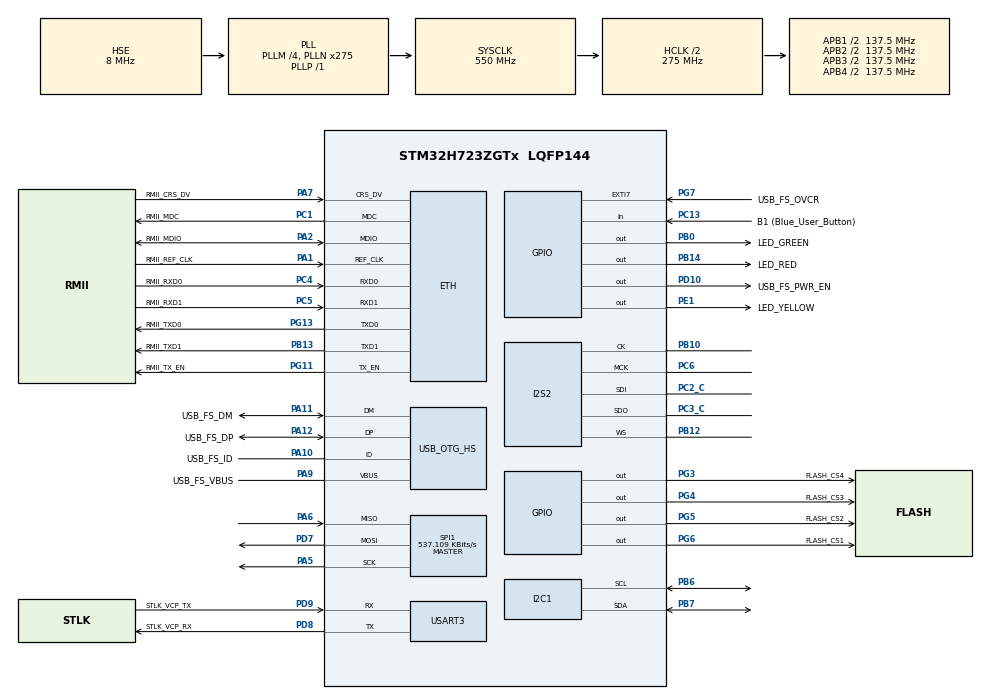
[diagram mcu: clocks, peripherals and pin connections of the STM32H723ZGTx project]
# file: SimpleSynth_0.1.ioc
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ETH.MediaInterface=HAL_ETH_RMII_MODE
FREERTOS.Tasks01=defaultTask,24,128,StartDefaultTask,Default,NULL,Dynamic,NULL,NULL
FREERTOS.configENABLE_FPU=1
FREERTOS.configTOTAL_HEAP_SIZE=262144
FREERTOS.configUSE_NEWLIB_REENTRANT=1
I2C1.Timing=0x60404E72
I2S2.AudioFreq=I2S_AUDIOFREQ_44K
I2S2.ErrorAudioFreq=1.72 %
I2S2.Instance=SPI$Index
I2S2.RealAudioFreq=44.759 KHz
Mcu.Family=STM32H7
Mcu.Name=STM32H723ZGTx
Mcu.Package=LQFP144
NVIC.PriorityGroup=NVIC_PRIORITYGROUP_4
NVIC.TIM1_UP_IRQn=true\:15\:0\:false\:false\:true\:false\:false\:true\:true
NVIC.TimeBase=TIM1_UP_IRQn
NVIC.TimeBaseIP=TIM1
PA1.GPIO_Label=RMII_REF_CLK
PA1.Mode=RMII
PA1.Signal=ETH_REF_CLK
PA10.GPIO_Label=USB_FS_ID
PA10.Mode=OTG/Dual-Role-Device-FS
PA10.Signal=USB_OTG_HS_ID
PA11.GPIO_Label=USB_FS_DM
PA11.Mode=OTG/Dual-Role-Device-FS
PA11.Signal=USB_OTG_HS_DM
PA12.GPIO_Label=USB_FS_DP
PA12.Mode=OTG/Dual-Role-Device-FS
PA12.Signal=USB_OTG_HS_DP
PA13(JTMS/SWDIO).GPIO_Label=SWDIO
PA13(JTMS/SWDIO).Mode=Trace_Asynchronous_SW
PA13(JTMS/SWDIO).Signal=DEBUG_JTMS-SWDIO
PA14(JTCK/SWCLK).GPIO_Label=SWCLK
PA14(JTCK/SWCLK).Mode=Trace_Asynchronous_SW
PA14(JTCK/SWCLK).Signal=DEBUG_JTCK-SWCLK
PA2.GPIO_Label=RMII_MDIO
PA2.Mode=RMII
PA2.Signal=ETH_MDIO
PA5.Mode=Full_Duplex_Master
PA5.Signal=SPI1_SCK
PA6.Mode=Full_Duplex_Master
PA6.Signal=SPI1_MISO
PA7.GPIO_Label=RMII_CRS_DV
PA7.Mode=RMII
PA7.Signal=ETH_CRS_DV
PA9.GPIO_Label=USB_FS_VBUS
PA9.Mode=Activate_VBUS_FS
PA9.Signal=USB_OTG_HS_VBUS
PB0.GPIO_Label=LED_GREEN
PB0.Signal=GPIO_Output
PB10.Mode=Full_Duplex_Master
PB10.Signal=I2S2_CK
PB12.Mode=Full_Duplex_Master
PB12.Signal=I2S2_WS
PB13.GPIO_Label=RMII_TXD1
PB13.Mode=RMII
PB13.Signal=ETH_TXD1
PB14.GPIO_Label=LED_RED
PB14.Signal=GPIO_Output
PB3(JTDO/TRACESWO).GPIO_Label=SWO
PB3(JTDO/TRACESWO).Mode=Trace_Asynchronous_SW
PB3(JTDO/TRACESWO).Signal=DEBUG_JTDO-SWO
PB6.Mode=I2C
PB6.Signal=I2C1_SCL
PB7.Mode=I2C
PB7.Signal=I2C1_SDA
PC1.GPIO_Label=RMII_MDC
PC1.Mode=RMII
PC1.Signal=ETH_MDC
PC13.GPIO_Label=B1 (Blue_User_Button)
PC13.Signal=GPIO_Input
PC14-OSC32_IN.Mode=LSE-External-Oscillator
PC14-OSC32_IN.Signal=RCC_OSC32_IN
PC15-OSC32_OUT.Mode=LSE-External-Oscillator
PC15-OSC32_OUT.Signal=RCC_OSC32_OUT
PC2_C.Mode=Full_Duplex_Master
PC2_C.Signal=I2S2_SDI
PC3_C.Mode=Full_Duplex_Master
PC3_C.Signal=I2S2_SDO
PC4.GPIO_Label=RMII_RXD0
PC4.Mode=RMII
PC4.Signal=ETH_RXD0
PC5.GPIO_Label=RMII_RXD1
PC5.Mode=RMII
PC5.Signal=ETH_RXD1
PC6.Mode=Master_Clock_Activated
PC6.Signal=I2S2_MCK
PD10.GPIO_Label=USB_FS_PWR_EN
PD10.Signal=GPIO_Output
PD7.Mode=Full_Duplex_Master
PD7.Signal=SPI1_MOSI
PD8.GPIO_Label=STLK_VCP_RX
PD8.Mode=Asynchronous
PD8.Signal=USART3_TX
PD9.GPIO_Label=STLK_VCP_TX
PD9.Mode=Asynchronous
PD9.Signal=USART3_RX
PE1.GPIO_Label=LED_YELLOW
PE1.Signal=GPIO_Output
PG11.GPIO_Label=RMII_TX_EN
PG11.Mode=RMII
PG11.Signal=ETH_TX_EN
PG13.GPIO_Label=RMII_TXD0
PG13.Mode=RMII
PG13.Signal=ETH_TXD0
PG3.GPIO_Label=FLASH_CS4
PG3.GPIO_PuPd=GPIO_PULLUP
PG3.GPIO_Speed=GPIO_SPEED_FREQ_HIGH
PG3.PinState=GPIO_PIN_SET
PG3.Signal=GPIO_Output
PG4.GPIO_Label=FLASH_CS3
PG4.GPIO_PuPd=GPIO_PULLUP
PG4.GPIO_Speed=GPIO_SPEED_FREQ_HIGH
PG4.PinState=GPIO_PIN_SET
PG4.Signal=GPIO_Output
PG5.GPIO_Label=FLASH_CS2
PG5.GPIO_PuPd=GPIO_PULLUP
PG5.GPIO_Speed=GPIO_SPEED_FREQ_HIGH
PG5.PinState=GPIO_PIN_SET
PG5.Signal=GPIO_Output
PG6.GPIO_Label=FLASH_CS1
PG6.GPIO_PuPd=GPIO_PULLUP
PG6.GPIO_Speed=GPIO_SPEED_FREQ_HIGH
PG6.PinState=GPIO_PIN_SET
PG6.Signal=GPIO_Output
PG7.GPIO_Label=USB_FS_OVCR
PG7.Signal=GPXTI7
PH0-OSC_IN.GPIO_Label=MCO
PH0-OSC_IN.Mode=HSE-External-Clock-Source
PH0-OSC_IN.Signal=RCC_OSC_IN
PH1-OSC_OUT.Signal=RCC_OSC_OUT
ProjectManager.HeapSize=0x200
ProjectManager.StackSize=0x400
ProjectManager.TargetToolchain=STM32CubeIDE
RCC.ADCFreq_Value=76000000
RCC.APB1Freq_Value=137500000
RCC.APB2Freq_Value=137500000
RCC.APB3Freq_Value=137500000
RCC.APB4Freq_Value=137500000
RCC.CortexFreq_Value=550000000
RCC.D1PPRE=RCC_APB3_DIV2
RCC.D2PPRE1=RCC_APB1_DIV2
RCC.D2PPRE2=RCC_APB2_DIV2
RCC.D3PPRE=RCC_APB4_DIV2
RCC.DIVM1=4
RCC.DIVM2=1
RCC.DIVN1=275
RCC.DIVN2=19
RCC.DIVP1=1
RCC.DIVQ1=4
RCC.HCLKFreq_Value=275000000
RCC.HPRE=RCC_HCLK_DIV2
RCC.HSE_VALUE=8000000
RCC.PLLFRACN=0
RCC.PLLSourceVirtual=RCC_PLLSOURCE_HSE
RCC.SYSCLKFreq_VALUE=550000000
RCC.SYSCLKSource=RCC_SYSCLKSOURCE_PLLCLK
RCC.USBCLockSelection=RCC_USBCLKSOURCE_HSI48
RCC.USBFreq_Value=48000000
SPI1.BaudRatePrescaler=SPI_BAUDRATEPRESCALER_256
SPI1.CalculateBaudRate=537.109 KBits/s
SPI1.DataSize=SPI_DATASIZE_8BIT
SPI1.Direction=SPI_DIRECTION_2LINES
SPI1.Mode=SPI_MODE_MASTER
SPI1.VirtualType=VM_MASTER
USART3.VirtualMode-Asynchronous=VM_ASYNC
VP_FREERTOS_VS_CMSIS_V2.Mode=CMSIS_V2
VP_MEMORYMAP_VS_MEMORYMAP.Mode=CurAppReg
VP_SYS_VS_tim1.Mode=TIM1
board=NUCLEO-H723ZG

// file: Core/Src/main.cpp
/* USER CODE BEGIN Header */
/**
  ******************************************************************************
  * @file           : main.c
  * @brief          : Main program body
  ******************************************************************************
  * @attention
  *
  * Copyright (c) 2024 STMicroelectronics.
  * All rights reserved.
  *
  * This software is licensed under terms that can be found in the LICENSE file
  * in the root directory of this software component.
  * If no LICENSE file comes with this software, it is provided AS-IS.
  *
  ******************************************************************************
  */
/* USER CODE END Header */
#include "main.h"
#include "string.h"
#include "cmsis_os.h"

/* USER CODE BEGIN Includes */

#include "CasualNoises.h"

/* USER CODE END Includes */

#if defined ( __ICCARM__ ) /*!< IAR Compiler */
#pragma location=0x30000000
ETH_DMADescTypeDef  DMARxDscrTab[ETH_RX_DESC_CNT]; /* Ethernet Rx DMA Descriptors */
#pragma location=0x30000080
ETH_DMADescTypeDef  DMATxDscrTab[ETH_TX_DESC_CNT]; /* Ethernet Tx DMA Descriptors */

#elif defined ( __CC_ARM )  /* MDK ARM Compiler */

__attribute__((at(0x30000000))) ETH_DMADescTypeDef  DMARxDscrTab[ETH_RX_DESC_CNT]; /* Ethernet Rx DMA Descriptors */
__attribute__((at(0x30000080))) ETH_DMADescTypeDef  DMATxDscrTab[ETH_TX_DESC_CNT]; /* Ethernet Tx DMA Descriptors */

#elif defined ( __GNUC__ ) /* GNU Compiler */

ETH_DMADescTypeDef DMARxDscrTab[ETH_RX_DESC_CNT] __attribute__((section(".RxDecripSection"))); /* Ethernet Rx DMA Descriptors */
ETH_DMADescTypeDef DMATxDscrTab[ETH_TX_DESC_CNT] __attribute__((section(".TxDecripSection")));   /* Ethernet Tx DMA Descriptors */
#endif

ETH_TxPacketConfig TxConfig;

ETH_HandleTypeDef heth;

I2C_HandleTypeDef hi2c1;

I2S_HandleTypeDef hi2s2;

SPI_HandleTypeDef hspi1;

UART_HandleTypeDef huart3;

/* Definitions for defaultTask */
osThreadId_t defaultTaskHandle;
const osThreadAttr_t defaultTask_attributes = {
  .name = "defaultTask",
  .stack_size = 128 * 4,
  .priority = (osPriority_t) osPriorityNormal,
};

void SystemClock_Config(void);
static void MX_GPIO_Init(void);
static void MX_ETH_Init(void);
static void MX_USART3_UART_Init(void);
static void MX_USB_OTG_HS_USB_Init(void);
static void MX_I2S2_Init(void);
static void MX_I2C1_Init(void);
static void MX_SPI1_Init(void);
void StartDefaultTask(void *argument);

int main(void)
{

  /* MCU Configuration--------------------------------------------------------*/

  /* Reset of all peripherals, Initializes the Flash interface and the Systick. */
  HAL_Init();

  /* Configure the system clock */
  SystemClock_Config();

  /* Initialize all configured peripherals */
  MX_GPIO_Init();
  MX_ETH_Init();
  MX_USART3_UART_Init();
  MX_USB_OTG_HS_USB_Init();
  MX_I2S2_Init();
  MX_I2C1_Init();
  MX_SPI1_Init();

  /* Init scheduler */
  osKernelInitialize();

  /* Create the thread(s) */
  /* creation of defaultTask */
  defaultTaskHandle = osThreadNew(StartDefaultTask, NULL, &defaultTask_attributes);

  /* Start scheduler */
  osKernelStart();

  /* We should never get here as control is now taken by the scheduler */

  /* Infinite loop */
  while (1)
  {

  }
}

void SystemClock_Config(void)
{
  RCC_OscInitTypeDef RCC_OscInitStruct = {0};
  RCC_ClkInitTypeDef RCC_ClkInitStruct = {0};

  /** Supply configuration update enable
  */
  HAL_PWREx_ConfigSupply(PWR_LDO_SUPPLY);

  /** Configure the main internal regulator output voltage
  */
  __HAL_PWR_VOLTAGESCALING_CONFIG(PWR_REGULATOR_VOLTAGE_SCALE0);

  while(!__HAL_PWR_GET_FLAG(PWR_FLAG_VOSRDY)) {}

  /** Initializes the RCC Oscillators according to the specified parameters
  * in the RCC_OscInitTypeDef structure.
  */
  RCC_OscInitStruct.OscillatorType = RCC_OSCILLATORTYPE_HSI48|RCC_OSCILLATORTYPE_HSE;
  RCC_OscInitStruct.HSEState = RCC_HSE_BYPASS;
  RCC_OscInitStruct.HSI48State = RCC_HSI48_ON;
  RCC_OscInitStruct.PLL.PLLState = RCC_PLL_ON;
  RCC_OscInitStruct.PLL.PLLSource = RCC_PLLSOURCE_HSE;
  RCC_OscInitStruct.PLL.PLLM = 4;
  RCC_OscInitStruct.PLL.PLLN = 275;
  RCC_OscInitStruct.PLL.PLLP = 1;
  RCC_OscInitStruct.PLL.PLLQ = 4;
  RCC_OscInitStruct.PLL.PLLR = 2;
  RCC_OscInitStruct.PLL.PLLRGE = RCC_PLL1VCIRANGE_1;
  RCC_OscInitStruct.PLL.PLLVCOSEL = RCC_PLL1VCOWIDE;
  RCC_OscInitStruct.PLL.PLLFRACN = 0;
  if (HAL_RCC_OscConfig(&RCC_OscInitStruct) != HAL_OK)
  {
    Error_Handler();
  }

  /** Initializes the CPU, AHB and APB buses clocks
  */
  RCC_ClkInitStruct.ClockType = RCC_CLOCKTYPE_HCLK|RCC_CLOCKTYPE_SYSCLK
                              |RCC_CLOCKTYPE_PCLK1|RCC_CLOCKTYPE_PCLK2
                              |RCC_CLOCKTYPE_D3PCLK1|RCC_CLOCKTYPE_D1PCLK1;
  RCC_ClkInitStruct.SYSCLKSource = RCC_SYSCLKSOURCE_PLLCLK;
  RCC_ClkInitStruct.SYSCLKDivider = RCC_SYSCLK_DIV1;
  RCC_ClkInitStruct.AHBCLKDivider = RCC_HCLK_DIV2;
  RCC_ClkInitStruct.APB3CLKDivider = RCC_APB3_DIV2;
  RCC_ClkInitStruct.APB1CLKDivider = RCC_APB1_DIV2;
  RCC_ClkInitStruct.APB2CLKDivider = RCC_APB2_DIV2;
  RCC_ClkInitStruct.APB4CLKDivider = RCC_APB4_DIV2;

  if (HAL_RCC_ClockConfig(&RCC_ClkInitStruct, FLASH_LATENCY_3) != HAL_OK)
  {
    Error_Handler();
  }
}

static void MX_ETH_Init(void)
{

   static uint8_t MACAddr[6];

  heth.Instance = ETH;
  MACAddr[0] = 0x00;
  MACAddr[1] = 0x80;
  MACAddr[2] = 0xE1;
  MACAddr[3] = 0x00;
  MACAddr[4] = 0x00;
  MACAddr[5] = 0x00;
  heth.Init.MACAddr = &MACAddr[0];
  heth.Init.MediaInterface = HAL_ETH_RMII_MODE;
  heth.Init.TxDesc = DMATxDscrTab;
  heth.Init.RxDesc = DMARxDscrTab;
  heth.Init.RxBuffLen = 1524;

  if (HAL_ETH_Init(&heth) != HAL_OK)
  {
    Error_Handler();
  }

  memset(&TxConfig, 0 , sizeof(ETH_TxPacketConfig));
  TxConfig.Attributes = ETH_TX_PACKETS_FEATURES_CSUM | ETH_TX_PACKETS_FEATURES_CRCPAD;
  TxConfig.ChecksumCtrl = ETH_CHECKSUM_IPHDR_PAYLOAD_INSERT_PHDR_CALC;
  TxConfig.CRCPadCtrl = ETH_CRC_PAD_INSERT;

}

static void MX_I2C1_Init(void)
{

  hi2c1.Instance = I2C1;
  hi2c1.Init.Timing = 0x60404E72;
  hi2c1.Init.OwnAddress1 = 0;
  hi2c1.Init.AddressingMode = I2C_ADDRESSINGMODE_7BIT;
  hi2c1.Init.DualAddressMode = I2C_DUALADDRESS_DISABLE;
  hi2c1.Init.OwnAddress2 = 0;
  hi2c1.Init.OwnAddress2Masks = I2C_OA2_NOMASK;
  hi2c1.Init.GeneralCallMode = I2C_GENERALCALL_DISABLE;
  hi2c1.Init.NoStretchMode = I2C_NOSTRETCH_DISABLE;
  if (HAL_I2C_Init(&hi2c1) != HAL_OK)
  {
    Error_Handler();
  }

  /** Configure Analogue filter
  */
  if (HAL_I2CEx_ConfigAnalogFilter(&hi2c1, I2C_ANALOGFILTER_ENABLE) != HAL_OK)
  {
    Error_Handler();
  }

  /** Configure Digital filter
  */
  if (HAL_I2CEx_ConfigDigitalFilter(&hi2c1, 0) != HAL_OK)
  {
    Error_Handler();
  }

}

static void MX_I2S2_Init(void)
{

  hi2s2.Instance = SPI2;
  hi2s2.Init.Mode = I2S_MODE_MASTER_FULLDUPLEX;
  hi2s2.Init.Standard = I2S_STANDARD_PHILIPS;
  hi2s2.Init.DataFormat = I2S_DATAFORMAT_16B;
  hi2s2.Init.MCLKOutput = I2S_MCLKOUTPUT_ENABLE;
  hi2s2.Init.AudioFreq = I2S_AUDIOFREQ_44K;
  hi2s2.Init.CPOL = I2S_CPOL_LOW;
  hi2s2.Init.FirstBit = I2S_FIRSTBIT_MSB;
  hi2s2.Init.WSInversion = I2S_WS_INVERSION_DISABLE;
  hi2s2.Init.Data24BitAlignment = I2S_DATA_24BIT_ALIGNMENT_RIGHT;
  hi2s2.Init.MasterKeepIOState = I2S_MASTER_KEEP_IO_STATE_DISABLE;
  if (HAL_I2S_Init(&hi2s2) != HAL_OK)
  {
    Error_Handler();
  }

}

static void MX_SPI1_Init(void)
{

  /* SPI1 parameter configuration*/
  hspi1.Instance = SPI1;
  hspi1.Init.Mode = SPI_MODE_MASTER;
  hspi1.Init.Direction = SPI_DIRECTION_2LINES;
  hspi1.Init.DataSize = SPI_DATASIZE_8BIT;
  hspi1.Init.CLKPolarity = SPI_POLARITY_LOW;
  hspi1.Init.CLKPhase = SPI_PHASE_1EDGE;
  hspi1.Init.NSS = SPI_NSS_SOFT;
  hspi1.Init.BaudRatePrescaler = SPI_BAUDRATEPRESCALER_256;
  hspi1.Init.FirstBit = SPI_FIRSTBIT_MSB;
  hspi1.Init.TIMode = SPI_TIMODE_DISABLE;
  hspi1.Init.CRCCalculation = SPI_CRCCALCULATION_DISABLE;
  hspi1.Init.CRCPolynomial = 0x0;
  hspi1.Init.NSSPMode = SPI_NSS_PULSE_ENABLE;
  hspi1.Init.NSSPolarity = SPI_NSS_POLARITY_LOW;
  hspi1.Init.FifoThreshold = SPI_FIFO_THRESHOLD_01DATA;
  hspi1.Init.TxCRCInitializationPattern = SPI_CRC_INITIALIZATION_ALL_ZERO_PATTERN;
  hspi1.Init.RxCRCInitializationPattern = SPI_CRC_INITIALIZATION_ALL_ZERO_PATTERN;
  hspi1.Init.MasterSSIdleness = SPI_MASTER_SS_IDLENESS_00CYCLE;
  hspi1.Init.MasterInterDataIdleness = SPI_MASTER_INTERDATA_IDLENESS_00CYCLE;
  hspi1.Init.MasterReceiverAutoSusp = SPI_MASTER_RX_AUTOSUSP_DISABLE;
  hspi1.Init.MasterKeepIOState = SPI_MASTER_KEEP_IO_STATE_DISABLE;
  hspi1.Init.IOSwap = SPI_IO_SWAP_DISABLE;
  if (HAL_SPI_Init(&hspi1) != HAL_OK)
  {
    Error_Handler();
  }

}

static void MX_USART3_UART_Init(void)
{

  huart3.Instance = USART3;
  huart3.Init.BaudRate = 115200;
  huart3.Init.WordLength = UART_WORDLENGTH_8B;
  huart3.Init.StopBits = UART_STOPBITS_1;
  huart3.Init.Parity = UART_PARITY_NONE;
  huart3.Init.Mode = UART_MODE_TX_RX;
  huart3.Init.HwFlowCtl = UART_HWCONTROL_NONE;
  huart3.Init.OverSampling = UART_OVERSAMPLING_16;
  huart3.Init.OneBitSampling = UART_ONE_BIT_SAMPLE_DISABLE;
  huart3.Init.ClockPrescaler = UART_PRESCALER_DIV1;
  huart3.AdvancedInit.AdvFeatureInit = UART_ADVFEATURE_NO_INIT;
  if (HAL_UART_Init(&huart3) != HAL_OK)
  {
    Error_Handler();
  }
  if (HAL_UARTEx_SetTxFifoThreshold(&huart3, UART_TXFIFO_THRESHOLD_1_8) != HAL_OK)
  {
    Error_Handler();
  }
  if (HAL_UARTEx_SetRxFifoThreshold(&huart3, UART_RXFIFO_THRESHOLD_1_8) != HAL_OK)
  {
    Error_Handler();
  }
  if (HAL_UARTEx_DisableFifoMode(&huart3) != HAL_OK)
  {
    Error_Handler();
  }

}

static void MX_USB_OTG_HS_USB_Init(void)
{

}

static void MX_GPIO_Init(void)
{
  GPIO_InitTypeDef GPIO_InitStruct = {0};

  /* GPIO Ports Clock Enable */
  __HAL_RCC_GPIOC_CLK_ENABLE();
  __HAL_RCC_GPIOH_CLK_ENABLE();
  __HAL_RCC_GPIOA_CLK_ENABLE();
  __HAL_RCC_GPIOB_CLK_ENABLE();
  __HAL_RCC_GPIOD_CLK_ENABLE();
  __HAL_RCC_GPIOG_CLK_ENABLE();
  __HAL_RCC_GPIOE_CLK_ENABLE();

  /*Configure GPIO pin Output Level */
  HAL_GPIO_WritePin(GPIOB, LED_GREEN_Pin|LED_RED_Pin, GPIO_PIN_RESET);

  /*Configure GPIO pin Output Level */
  HAL_GPIO_WritePin(USB_FS_PWR_EN_GPIO_Port, USB_FS_PWR_EN_Pin, GPIO_PIN_RESET);

  /*Configure GPIO pin Output Level */
  HAL_GPIO_WritePin(GPIOG, FLASH_CS4_Pin|FLASH_CS3_Pin|FLASH_CS2_Pin|FLASH_CS1_Pin, GPIO_PIN_SET);

  /*Configure GPIO pin Output Level */
  HAL_GPIO_WritePin(LED_YELLOW_GPIO_Port, LED_YELLOW_Pin, GPIO_PIN_RESET);

  /*Configure GPIO pin : B1_Pin */
  GPIO_InitStruct.Pin = B1_Pin;
  GPIO_InitStruct.Mode = GPIO_MODE_INPUT;
  GPIO_InitStruct.Pull = GPIO_NOPULL;
  HAL_GPIO_Init(B1_GPIO_Port, &GPIO_InitStruct);

  /*Configure GPIO pins : LED_GREEN_Pin LED_RED_Pin */
  GPIO_InitStruct.Pin = LED_GREEN_Pin|LED_RED_Pin;
  GPIO_InitStruct.Mode = GPIO_MODE_OUTPUT_PP;
  GPIO_InitStruct.Pull = GPIO_NOPULL;
  GPIO_InitStruct.Speed = GPIO_SPEED_FREQ_LOW;
  HAL_GPIO_Init(GPIOB, &GPIO_InitStruct);

  /*Configure GPIO pin : USB_FS_PWR_EN_Pin */
  GPIO_InitStruct.Pin = USB_FS_PWR_EN_Pin;
  GPIO_InitStruct.Mode = GPIO_MODE_OUTPUT_PP;
  GPIO_InitStruct.Pull = GPIO_NOPULL;
  GPIO_InitStruct.Speed = GPIO_SPEED_FREQ_LOW;
  HAL_GPIO_Init(USB_FS_PWR_EN_GPIO_Port, &GPIO_InitStruct);

  /*Configure GPIO pins : FLASH_CS4_Pin FLASH_CS3_Pin FLASH_CS2_Pin FLASH_CS1_Pin */
  GPIO_InitStruct.Pin = FLASH_CS4_Pin|FLASH_CS3_Pin|FLASH_CS2_Pin|FLASH_CS1_Pin;
  GPIO_InitStruct.Mode = GPIO_MODE_OUTPUT_PP;
  GPIO_InitStruct.Pull = GPIO_PULLUP;
  GPIO_InitStruct.Speed = GPIO_SPEED_FREQ_HIGH;
  HAL_GPIO_Init(GPIOG, &GPIO_InitStruct);

  /*Configure GPIO pin : USB_FS_OVCR_Pin */
  GPIO_InitStruct.Pin = USB_FS_OVCR_Pin;
  GPIO_InitStruct.Mode = GPIO_MODE_IT_RISING;
  GPIO_InitStruct.Pull = GPIO_NOPULL;
  HAL_GPIO_Init(USB_FS_OVCR_GPIO_Port, &GPIO_InitStruct);

  /*Configure GPIO pin : USB_FS_VBUS_Pin */
  GPIO_InitStruct.Pin = USB_FS_VBUS_Pin;
  GPIO_InitStruct.Mode = GPIO_MODE_INPUT;
  GPIO_InitStruct.Pull = GPIO_NOPULL;
  HAL_GPIO_Init(USB_FS_VBUS_GPIO_Port, &GPIO_InitStruct);

  /*Configure GPIO pin : USB_FS_ID_Pin */
  GPIO_InitStruct.Pin = USB_FS_ID_Pin;
  GPIO_InitStruct.Mode = GPIO_MODE_AF_PP;
  GPIO_InitStruct.Pull = GPIO_NOPULL;
  GPIO_InitStruct.Speed = GPIO_SPEED_FREQ_LOW;
  GPIO_InitStruct.Alternate = GPIO_AF10_OTG1_HS;
  HAL_GPIO_Init(USB_FS_ID_GPIO_Port, &GPIO_InitStruct);

  /*Configure GPIO pin : LED_YELLOW_Pin */
  GPIO_InitStruct.Pin = LED_YELLOW_Pin;
  GPIO_InitStruct.Mode = GPIO_MODE_OUTPUT_PP;
  GPIO_InitStruct.Pull = GPIO_NOPULL;
  GPIO_InitStruct.Speed = GPIO_SPEED_FREQ_LOW;
  HAL_GPIO_Init(LED_YELLOW_GPIO_Port, &GPIO_InitStruct);

}

/* USER CODE BEGIN Header_StartDefaultTask */

//==============================================================================
//          StartDefaultTask()
//
//  CasualNoises    09/12/2024  First implementation
//==============================================================================
/* USER CODE END Header_StartDefaultTask */
void StartDefaultTask(void *argument)
{
  /* USER CODE BEGIN 5 */

	// Set default nucleo led state
	HAL_GPIO_WritePin(GPIOB, LED_GREEN_Pin, GPIO_PIN_RESET);
	HAL_GPIO_WritePin(GPIOE, LED_YELLOW_Pin, GPIO_PIN_SET);

    // Get the amount of free heap memory
    size_t xFreeHeapSize = xPortGetFreeHeapSize();

    CasualNoises::sNVM_DriverInitData data;
    data.hspix_ptr 			  = &hspi1;
    data.noOfDevices 		  = 4;
    data.deviceSelectPorts[0] = GPIOG;
    data.deviceSelectPins[0]  = FLASH_CS1_Pin;
    data.deviceSelectPorts[1] = GPIOG;
    data.deviceSelectPins[1]  = FLASH_CS2_Pin;
    data.deviceSelectPorts[2] = GPIOG;
    data.deviceSelectPins[2]  = FLASH_CS3_Pin;
    data.deviceSelectPorts[3] = GPIOG;
    data.deviceSelectPins[3]  = FLASH_CS4_Pin;

    CasualNoises::W25Qxx_Driver* driver = new CasualNoises::W25Qxx_Driver(&data);
    CasualNoises::NVM_Driver* ptr = dynamic_cast<CasualNoises::NVM_Driver*>(driver);

    CasualNoises::TLV_Driver* tlv = new CasualNoises::TLV_Driver(ptr);

    uint32_t index = tlv->findNextTLV(0x12345678, 1);

    uint32_t array[4];
    array[0] = 0x11223344;
    array[1] = 0x22334455;
    array[2] = 0x33445566;
    array[3] = 0x44556677;
    tlv->addTLV(0x12345678, 4, array);

    driver->flushSectorCache();

	/* Infinite loop */
	for(;;)
	{

		// Toggle green and yellow led's
		HAL_GPIO_TogglePin(GPIOB, LED_GREEN_Pin);
		HAL_GPIO_TogglePin(GPIOE, LED_YELLOW_Pin);

	    // Get the amount of free heap memory
	    xFreeHeapSize = xPortGetFreeHeapSize();
	    if (xFreeHeapSize < 1024)
	    	CasualNoises::CN_ReportFault(1);

	    // Wait here for a short time
		osDelay(500);
	}

  /* USER CODE END 5 */
}

void HAL_TIM_PeriodElapsedCallback(TIM_HandleTypeDef *htim)
{
  if (htim->Instance == TIM1) {
    HAL_IncTick();
  }
}

void Error_Handler(void)
{
  __disable_irq();
  while (1)
  {
  }
}
